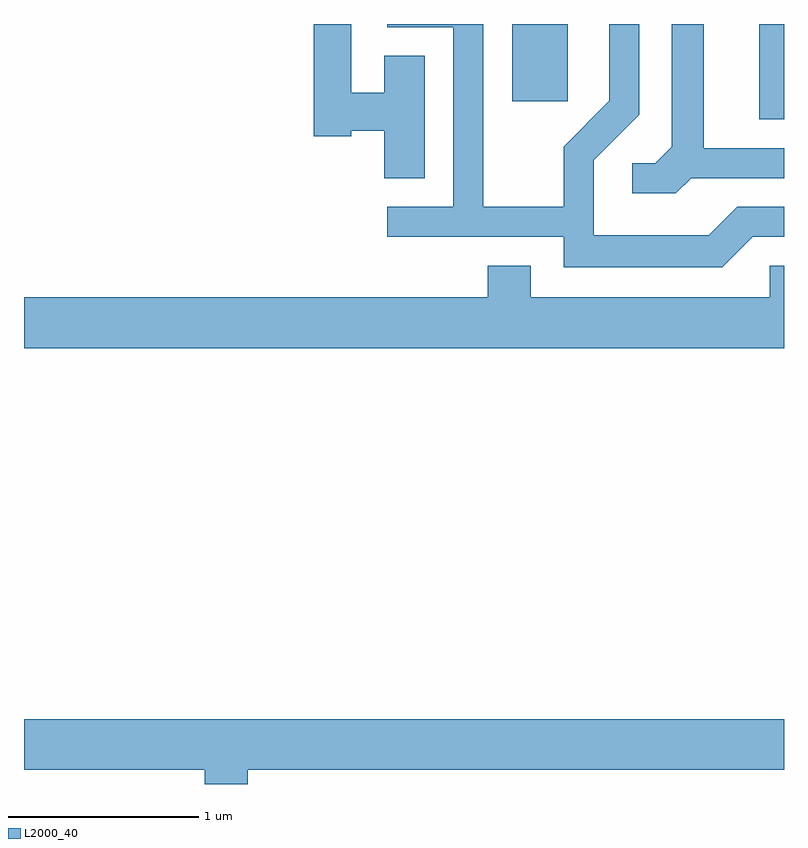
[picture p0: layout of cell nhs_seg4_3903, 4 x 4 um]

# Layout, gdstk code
import gdstk
lib = gdstk.Library(unit=1e-6, precision=1e-09)
def R(c, l, rs):  # rectangles x0, y0, x1, y1
    for r in rs: c.add(gdstk.rectangle(r[:2], r[2:], *l))
def P(c, l, *ps):  # polygons
    for p in ps: c.add(gdstk.Polygon(p, *l))
L2000_40 = (2000, 40)

nhs_seg4_3903 = lib.new_cell('nhs_seg4_3903')
R(nhs_seg4_3903, L2000_40, [(303.481,1311.481,303.611,1311.982), (302.181,1311.576,302.474,1311.982)])
P(nhs_seg4_3903, L2000_40, [(303.122,1311.171),(303.611,1311.171),(303.611,1311.329),(303.189,1311.329),(303.189,1311.982),(303.021,1311.982),(303.021,1311.337),(302.934,1311.249),(302.813,1311.249),(302.813,1311.091),(303.042,1311.091)],
  [(301.719,1311.814),(301.506,1311.814),(301.506,1311.619),(301.334,1311.619),(301.334,1311.982),(301.136,1311.982),(301.136,1311.391),(301.334,1311.391),(301.334,1311.421),(301.506,1311.421),(301.506,1311.171),(301.719,1311.171)],
  [(303.447,1310.861),(303.611,1310.861),(303.611,1311.019),(303.364,1311.019),(303.214,1310.869),(302.609,1310.869),(302.609,1311.264),(302.849,1311.504),(302.849,1311.982),(302.691,1311.982),(302.691,1311.577),(302.451,1311.337),(302.451,1311.019),(302.029,1311.019),(302.029,1311.982),(301.523,1311.982),(301.523,1311.966),(301.871,1311.966),(301.871,1311.019),(301.523,1311.019),(301.523,1310.861),(302.451,1310.861),(302.451,1310.701),(303.287,1310.701)],
  [(303.611,1310.709),(303.536,1310.709),(303.536,1310.544),(302.279,1310.544),(302.279,1310.709),(302.051,1310.709),(302.051,1310.544),(299.611,1310.544),(299.611,1310.276),(303.611,1310.276)],
  [(300.789,1308.056),(303.611,1308.056),(303.611,1308.324),(299.611,1308.324),(299.611,1308.056),(300.561,1308.056),(300.561,1307.982),(300.789,1307.982)])

lib.write_gds('nhs_seg4_3903.gds')
